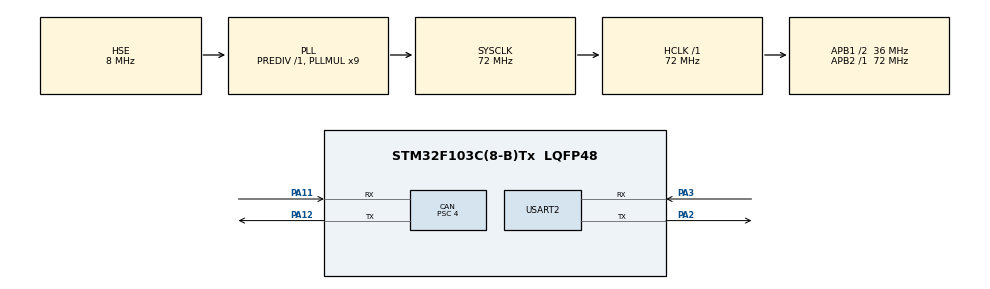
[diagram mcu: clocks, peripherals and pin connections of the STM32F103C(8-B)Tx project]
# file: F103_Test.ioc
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CAN.BS1=CAN_BS1_13TQ
CAN.BS2=CAN_BS2_4TQ
CAN.CalculateBaudRate=500000
CAN.CalculateTimeBit=2000
CAN.CalculateTimeQuantum=111.11111111111111
CAN.Mode=CAN_MODE_LOOPBACK
CAN.Prescaler=4
Mcu.Family=STM32F1
Mcu.Name=STM32F103C(8-B)Tx
Mcu.Package=LQFP48
NVIC.PriorityGroup=NVIC_PRIORITYGROUP_4
PA11.Mode=CAN_Activate
PA11.Signal=CAN_RX
PA12.Mode=CAN_Activate
PA12.Signal=CAN_TX
PA13.Mode=Serial_Wire
PA13.Signal=SYS_JTMS-SWDIO
PA14.Mode=Serial_Wire
PA14.Signal=SYS_JTCK-SWCLK
PA2.Mode=Asynchronous
PA2.Signal=USART2_TX
PA3.Mode=Asynchronous
PA3.Signal=USART2_RX
PD0-OSC_IN.Mode=HSE-External-Oscillator
PD0-OSC_IN.Signal=RCC_OSC_IN
PD1-OSC_OUT.Mode=HSE-External-Oscillator
PD1-OSC_OUT.Signal=RCC_OSC_OUT
ProjectManager.HeapSize=0x200
ProjectManager.StackSize=0x400
ProjectManager.TargetToolchain=STM32CubeIDE
RCC.AHBFreq_Value=72000000
RCC.APB1CLKDivider=RCC_HCLK_DIV2
RCC.APB1Freq_Value=36000000
RCC.APB1TimFreq_Value=72000000
RCC.APB2Freq_Value=72000000
RCC.APB2TimFreq_Value=72000000
RCC.HCLKFreq_Value=72000000
RCC.PLLMUL=RCC_PLL_MUL9
RCC.PLLSourceVirtual=RCC_PLLSOURCE_HSE
RCC.SYSCLKFreq_VALUE=72000000
RCC.SYSCLKSource=RCC_SYSCLKSOURCE_PLLCLK
RCC.USBFreq_Value=72000000
USART2.VirtualMode=VM_ASYNC
board=custom

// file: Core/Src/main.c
/* USER CODE BEGIN Header */
/**
  ******************************************************************************
  * @file           : main.c
  * @brief          : Main program body
  ******************************************************************************
  * @attention
  *
  * Copyright (c) 2026 STMicroelectronics.
  * All rights reserved.
  *
  * This software is licensed under terms that can be found in the LICENSE file
  * in the root directory of this software component.
  * If no LICENSE file comes with this software, it is provided AS-IS.
  *
  ******************************************************************************
  */
/* USER CODE END Header */
#include "main.h"

/* USER CODE BEGIN Includes */
#include <string.h>
/* USER CODE END Includes */

CAN_HandleTypeDef hcan;

UART_HandleTypeDef huart2;

/* USER CODE BEGIN PV */
uint32_t my_data = 0;
/* USER CODE END PV */

void SystemClock_Config(void);
static void MX_GPIO_Init(void);
static void MX_USART2_UART_Init(void);
static void MX_CAN_Init(void);

int main(void)
{

  /* MCU Configuration--------------------------------------------------------*/

  /* Reset of all peripherals, Initializes the Flash interface and the Systick. */
  HAL_Init();

  /* Configure the system clock */
  SystemClock_Config();

  /* Initialize all configured peripherals */
  MX_GPIO_Init();
  MX_USART2_UART_Init();
  MX_CAN_Init();
  /* USER CODE BEGIN 2 */
  CAN_FilterTypeDef sFilterConfig;

  sFilterConfig.FilterBank = 0;
  sFilterConfig.FilterMode = CAN_FILTERMODE_IDMASK;
  sFilterConfig.FilterScale = CAN_FILTERSCALE_32BIT;
  sFilterConfig.FilterIdHigh = 0x0000;
  sFilterConfig.FilterIdLow = 0x0000;
  sFilterConfig.FilterMaskIdHigh = 0x0000;
  sFilterConfig.FilterMaskIdLow = 0x0000;
  sFilterConfig.FilterFIFOAssignment = CAN_RX_FIFO0;
  sFilterConfig.FilterActivation = ENABLE;
  sFilterConfig.SlaveStartFilterBank = 14;

  if (HAL_CAN_ConfigFilter(&hcan, &sFilterConfig) != HAL_OK) {
      Error_Handler();
  }
  // 1. CAN 시작
  HAL_CAN_Start(&hcan);
  /* USER CODE END 2 */

  /* Infinite loop */
  while (1)
  {

    /* USER CODE BEGIN 3 */
	  my_data += 1;

	  // 2. 메시지 전송 설정 (ID: 0x123, 데이터 8바이트)
	  CAN_TxHeaderTypeDef TxHeader;
	  //uint8_t TxData[8] = {(uint8_t)my_data, 0x22, 0x33, 0x44, 0x55, 0x66, 0x77, 0x88};
	  uint8_t TxData[8];
	  TxData[0] = (uint8_t)my_data;
	  uint32_t TxMailbox;

	  TxHeader.StdId = 0x123;
	  TxHeader.RTR = CAN_RTR_DATA;
	  TxHeader.IDE = CAN_ID_STD;
	  TxHeader.DLC = 8;

	  // 3. 메시지 쏘기!
	  HAL_CAN_AddTxMessage(&hcan, &TxHeader, TxData, &TxMailbox);
	  HAL_Delay(1000);

  }
  /* USER CODE END 3 */
}

void SystemClock_Config(void)
{
  RCC_OscInitTypeDef RCC_OscInitStruct = {0};
  RCC_ClkInitTypeDef RCC_ClkInitStruct = {0};

  /** Initializes the RCC Oscillators according to the specified parameters
  * in the RCC_OscInitTypeDef structure.
  */
  RCC_OscInitStruct.OscillatorType = RCC_OSCILLATORTYPE_HSE;
  RCC_OscInitStruct.HSEState = RCC_HSE_ON;
  RCC_OscInitStruct.HSEPredivValue = RCC_HSE_PREDIV_DIV1;
  RCC_OscInitStruct.HSIState = RCC_HSI_ON;
  RCC_OscInitStruct.PLL.PLLState = RCC_PLL_ON;
  RCC_OscInitStruct.PLL.PLLSource = RCC_PLLSOURCE_HSE;
  RCC_OscInitStruct.PLL.PLLMUL = RCC_PLL_MUL9;
  if (HAL_RCC_OscConfig(&RCC_OscInitStruct) != HAL_OK)
  {
    Error_Handler();
  }

  /** Initializes the CPU, AHB and APB buses clocks
  */
  RCC_ClkInitStruct.ClockType = RCC_CLOCKTYPE_HCLK|RCC_CLOCKTYPE_SYSCLK
                              |RCC_CLOCKTYPE_PCLK1|RCC_CLOCKTYPE_PCLK2;
  RCC_ClkInitStruct.SYSCLKSource = RCC_SYSCLKSOURCE_PLLCLK;
  RCC_ClkInitStruct.AHBCLKDivider = RCC_SYSCLK_DIV1;
  RCC_ClkInitStruct.APB1CLKDivider = RCC_HCLK_DIV2;
  RCC_ClkInitStruct.APB2CLKDivider = RCC_HCLK_DIV1;

  if (HAL_RCC_ClockConfig(&RCC_ClkInitStruct, FLASH_LATENCY_2) != HAL_OK)
  {
    Error_Handler();
  }
}

static void MX_CAN_Init(void)
{

  hcan.Instance = CAN1;
  hcan.Init.Prescaler = 4;
  hcan.Init.Mode = CAN_MODE_LOOPBACK;
  hcan.Init.SyncJumpWidth = CAN_SJW_1TQ;
  hcan.Init.TimeSeg1 = CAN_BS1_13TQ;
  hcan.Init.TimeSeg2 = CAN_BS2_4TQ;
  hcan.Init.TimeTriggeredMode = DISABLE;
  hcan.Init.AutoBusOff = DISABLE;
  hcan.Init.AutoWakeUp = DISABLE;
  hcan.Init.AutoRetransmission = DISABLE;
  hcan.Init.ReceiveFifoLocked = DISABLE;
  hcan.Init.TransmitFifoPriority = DISABLE;
  if (HAL_CAN_Init(&hcan) != HAL_OK)
  {
    Error_Handler();
  }

}

static void MX_USART2_UART_Init(void)
{

  huart2.Instance = USART2;
  huart2.Init.BaudRate = 115200;
  huart2.Init.WordLength = UART_WORDLENGTH_8B;
  huart2.Init.StopBits = UART_STOPBITS_1;
  huart2.Init.Parity = UART_PARITY_NONE;
  huart2.Init.Mode = UART_MODE_TX_RX;
  huart2.Init.HwFlowCtl = UART_HWCONTROL_NONE;
  huart2.Init.OverSampling = UART_OVERSAMPLING_16;
  if (HAL_UART_Init(&huart2) != HAL_OK)
  {
    Error_Handler();
  }

}

static void MX_GPIO_Init(void)
{

  /* GPIO Ports Clock Enable */
  __HAL_RCC_GPIOD_CLK_ENABLE();
  __HAL_RCC_GPIOA_CLK_ENABLE();

}

void Error_Handler(void)
{
  __disable_irq();
  while (1)
  {
  }
}
